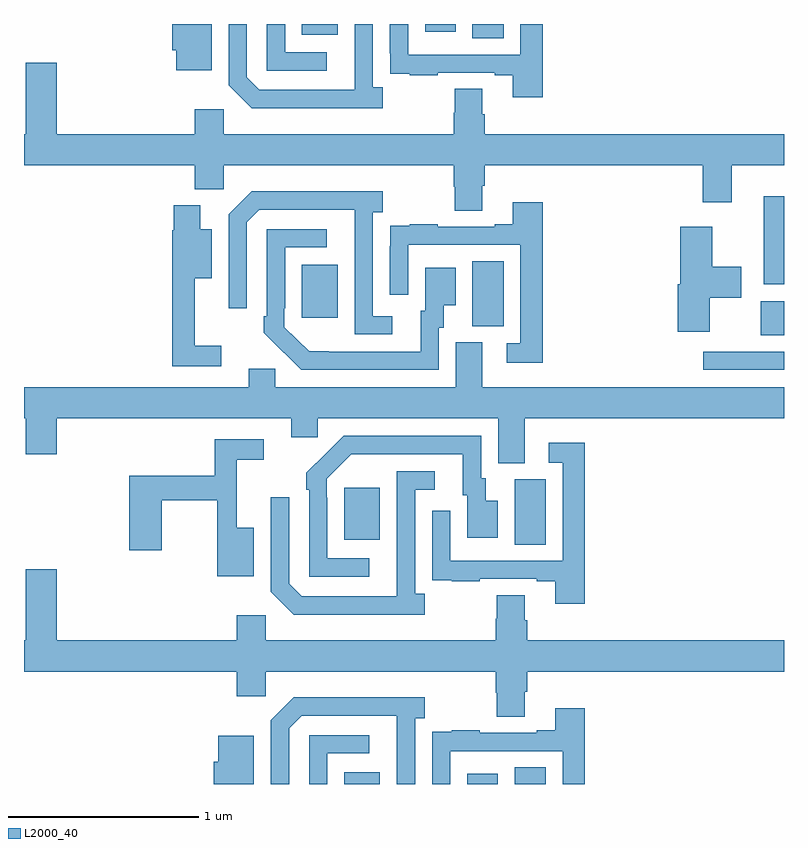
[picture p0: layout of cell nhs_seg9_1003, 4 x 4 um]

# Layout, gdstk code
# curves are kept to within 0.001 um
import gdstk
lib = gdstk.Library(unit=1e-6, precision=1e-09)
def R(c, l, rs):  # rectangles x0, y0, x1, y1
    for r in rs: c.add(gdstk.rectangle(r[:2], r[2:], *l))
def P(c, l, *ps):  # polygons
    for p in ps: c.add(gdstk.Polygon(p, *l))
L2000_40 = (2000, 40)

nhs_seg9_1003 = lib.new_cell('nhs_seg9_1003')
R(nhs_seg9_1003, L2000_40, [(166.685,1190.5,166.873,1190.563), (167.333,1190.5,167.494,1190.554), (167.582,1190.5,167.746,1190.588), (167.582,1191.76,167.746,1192.104), (166.685,1191.785,166.873,1192.06), (168.576,1192.68,169,1192.776), (168.878,1192.861,169,1193.04), (167.36,1192.909,167.524,1193.252), (166.463,1192.953,166.651,1193.233), (168.893,1193.129,169,1193.593), (167.36,1194.424,167.524,1194.5), (166.463,1194.443,166.651,1194.5), (167.111,1194.459,167.272,1194.5)])
P(nhs_seg9_1003, L2000_40, [(166.888,1194.166),(166.836,1194.166),(166.836,1194.5),(166.74,1194.5),(166.74,1194.153),(166.239,1194.153),(166.173,1194.219),(166.173,1194.5),(166.077,1194.5),(166.077,1194.177),(166.198,1194.056),(166.888,1194.056)],
  [(167.729,1194.5),(167.613,1194.5),(167.613,1194.339),(167.022,1194.339),(167.022,1194.5),(166.926,1194.5),(166.926,1194.346),(166.927,1194.346),(166.927,1194.237),(167.029,1194.237),(167.029,1194.231),(167.177,1194.231),(167.177,1194.243),(167.477,1194.243),(167.477,1194.231),(167.573,1194.231),(167.573,1194.114),(167.729,1194.114)],
  [(165.988,1194.5),(165.781,1194.5),(165.781,1194.361),(165.8,1194.361),(165.8,1194.257),(165.988,1194.257)],
  [(166.594,1194.351),(166.374,1194.351),(166.374,1194.5),(166.278,1194.5),(166.278,1194.255),(166.594,1194.255)],
  [(167.413,1193.65),(167.426,1193.65),(167.426,1193.756),(168.572,1193.756),(168.572,1193.562),(168.724,1193.562),(168.724,1193.756),(169,1193.756),(169,1193.92),(167.426,1193.92),(167.426,1194.026),(167.413,1194.026),(167.413,1194.158),(167.266,1194.158),(167.266,1194.033),(167.261,1194.033),(167.261,1193.92),(166.05,1193.92),(166.05,1194.052),(165.899,1194.052),(165.899,1193.92),(165.172,1193.92),(165.172,1194.295),(165.008,1194.295),(165.008,1193.92),(165,1193.92),(165,1193.756),(165.899,1193.756),(165.899,1193.63),(166.05,1193.63),(166.05,1193.756),(167.261,1193.756),(167.261,1193.643),(167.266,1193.643),(167.266,1193.518),(167.413,1193.518)],
  [(166.939,1192.962),(166.836,1192.962),(166.836,1193.51),(166.888,1193.51),(166.888,1193.62),(166.198,1193.62),(166.077,1193.499),(166.077,1193.004),(166.173,1193.004),(166.173,1193.457),(166.239,1193.523),(166.74,1193.523),(166.74,1192.866),(166.939,1192.866)],
  [(167.729,1193.563),(167.573,1193.563),(167.573,1193.446),(167.477,1193.446),(167.477,1193.433),(167.177,1193.433),(167.177,1193.446),(167.029,1193.446),(167.029,1193.439),(166.927,1193.439),(166.927,1193.33),(166.926,1193.33),(166.926,1193.076),(167.022,1193.076),(167.022,1193.337),(167.613,1193.337),(167.613,1192.821),(167.541,1192.821),(167.541,1192.716),(167.729,1192.716)],
  [(166.039,1192.807),(165.899,1192.807),(165.899,1193.162),(165.988,1193.162),(165.988,1193.419),(165.928,1193.419),(165.928,1193.545),(165.788,1193.545),(165.788,1193.415),(165.781,1193.415),(165.781,1192.698),(166.039,1192.698)],
  [(168.61,1193.06),(168.775,1193.06),(168.775,1193.223),(168.622,1193.223),(168.622,1193.434),(168.455,1193.434),(168.455,1193.129),(168.44,1193.129),(168.44,1192.881),(168.61,1192.881)],
  [(167.184,1192.902),(167.209,1192.902),(167.209,1193.021),(167.272,1193.021),(167.272,1193.218),(167.111,1193.218),(167.111,1192.992),(167.087,1192.992),(167.087,1192.776),(166.5,1192.777),(166.371,1192.905),(166.371,1193.005),(166.374,1193.005),(166.374,1193.325),(166.594,1193.325),(166.594,1193.421),(166.278,1193.421),(166.278,1192.963),(166.263,1192.963),(166.263,1192.875),(166.46,1192.68),(167.184,1192.68)],
  [(167.413,1192.824),(167.273,1192.824),(167.273,1192.588),(166.323,1192.588),(166.323,1192.686),(166.184,1192.686),(166.184,1192.588),(165,1192.588),(165,1192.424),(165.008,1192.424),(165.008,1192.236),(165.172,1192.236),(165.172,1192.424),(166.406,1192.424),(166.406,1192.326),(166.545,1192.326),(166.545,1192.424),(167.495,1192.424),(167.495,1192.189),(167.635,1192.189),(167.635,1192.424),(169,1192.424),(169,1192.588),(167.413,1192.588)],
  [(166.816,1191.687),(166.596,1191.687),(166.596,1192.007),(166.593,1192.007),(166.593,1192.107),(166.722,1192.236),(167.309,1192.236),(167.309,1192.02),(167.333,1192.02),(167.333,1191.795),(167.494,1191.795),(167.494,1191.991),(167.431,1191.991),(167.431,1192.11),(167.406,1192.11),(167.406,1192.332),(166.682,1192.332),(166.485,1192.137),(166.485,1192.049),(166.5,1192.049),(166.5,1191.591),(166.816,1191.591)],
  [(166.21,1191.85),(166.121,1191.85),(166.121,1192.206),(166.261,1192.206),(166.261,1192.314),(166.003,1192.314),(166.003,1192.123),(165.554,1192.123),(165.554,1191.729),(165.724,1191.729),(165.724,1191.994),(166.018,1191.994),(166.018,1191.593),(166.21,1191.593)],
  [(167.951,1192.297),(167.763,1192.297),(167.763,1192.191),(167.835,1192.191),(167.835,1191.675),(167.244,1191.675),(167.244,1191.937),(167.148,1191.937),(167.148,1191.682),(167.149,1191.682),(167.149,1191.573),(167.251,1191.573),(167.251,1191.567),(167.399,1191.567),(167.399,1191.579),(167.699,1191.579),(167.699,1191.567),(167.795,1191.567),(167.795,1191.45),(167.951,1191.45)],
  [(167.11,1191.502),(167.058,1191.502),(167.058,1192.05),(167.161,1192.05),(167.161,1192.146),(166.962,1192.146),(166.961,1191.489),(166.461,1191.489),(166.395,1191.555),(166.395,1192.009),(166.299,1192.009),(166.299,1191.513),(166.42,1191.392),(167.11,1191.392)],
  [(167.635,1190.986),(167.648,1190.986),(167.648,1191.092),(169,1191.092),(169,1191.256),(167.648,1191.256),(167.648,1191.362),(167.635,1191.362),(167.635,1191.494),(167.488,1191.494),(167.488,1191.369),(167.483,1191.369),(167.483,1191.256),(166.272,1191.256),(166.272,1191.388),(166.121,1191.388),(166.121,1191.256),(165.172,1191.256),(165.172,1191.631),(165.008,1191.631),(165.008,1191.256),(165,1191.256),(165,1191.092),(166.121,1191.092),(166.121,1190.961),(166.272,1190.961),(166.272,1191.092),(167.483,1191.092),(167.483,1190.979),(167.488,1190.979),(167.488,1190.854),(167.635,1190.854)],
  [(166.395,1190.793),(166.461,1190.859),(166.961,1190.859),(166.962,1190.5),(167.058,1190.5),(167.058,1190.846),(167.11,1190.846),(167.11,1190.956),(166.42,1190.956),(166.299,1190.835),(166.299,1190.5),(166.395,1190.5)],
  [(167.244,1190.673),(167.835,1190.673),(167.835,1190.5),(167.951,1190.5),(167.951,1190.899),(167.795,1190.899),(167.795,1190.782),(167.699,1190.782),(167.699,1190.769),(167.399,1190.769),(167.399,1190.782),(167.251,1190.782),(167.251,1190.775),(167.149,1190.775),(167.149,1190.666),(167.148,1190.666),(167.148,1190.5),(167.244,1190.5)],
  [(166.596,1190.661),(166.816,1190.661),(166.816,1190.757),(166.5,1190.757),(166.5,1190.5),(166.596,1190.5)],
  [(166.21,1190.755),(166.022,1190.755),(166.022,1190.616),(165.998,1190.616),(165.998,1190.5),(166.21,1190.5)])

lib.write_gds('nhs_seg9_1003.gds')
